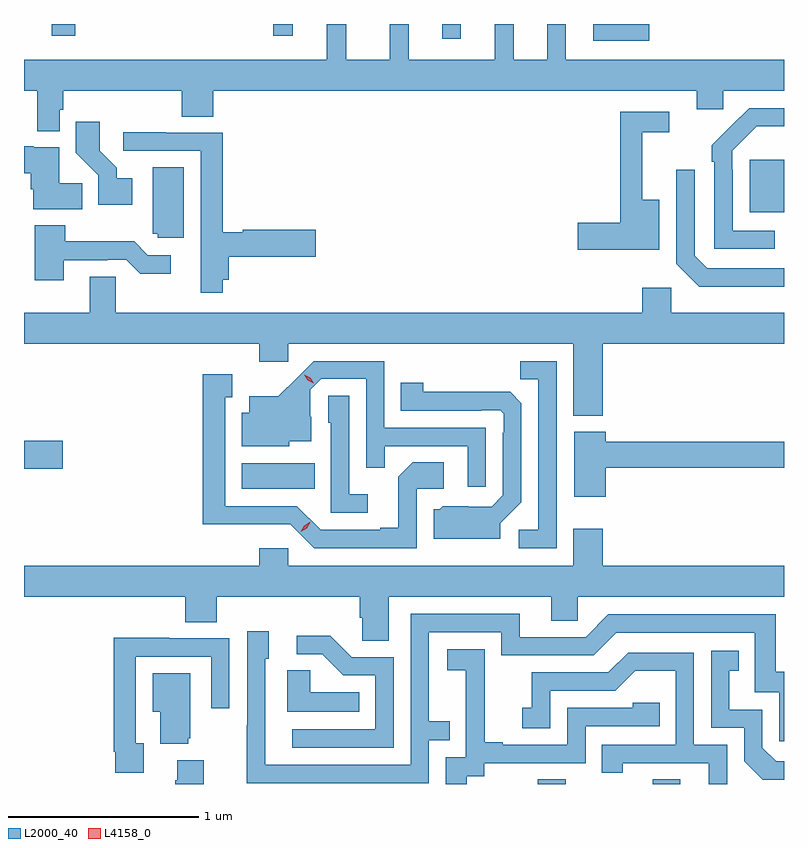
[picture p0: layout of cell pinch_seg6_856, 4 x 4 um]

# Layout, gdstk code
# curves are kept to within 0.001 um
import gdstk
lib = gdstk.Library(unit=1e-6, precision=1e-09)
def R(c, l, rs):  # rectangles x0, y0, x1, y1
    for r in rs: c.add(gdstk.rectangle(r[:2], r[2:], *l))
def P(c, l, *ps):  # polygons
    for p in ps: c.add(gdstk.Polygon(p, *l))
L2000_40 = (2000, 40)
L4158_0 = (4158, 0)

pinch_seg6_856 = lib.new_cell('pinch_seg6_856')
R(pinch_seg6_856, L2000_40, [(144.923,917.047,145.071,917.072), (145.528,917.047,145.675,917.072), (143.366,918.602,143.75,918.736), (142.22,918.707,142.423,918.854), (146.039,920.057,146.22,920.332), (145.217,920.96,145.51,921.047), (144.422,920.97,144.519,921.047), (142.367,920.985,142.489,921.047), (143.531,920.985,143.635,921.047)])
P(pinch_seg6_856, L2000_40, [(142.407,920.595),(142.427,920.595),(142.427,920.696),(143.051,920.696),(143.051,920.56),(143.216,920.56),(143.216,920.696),(145.76,920.696),(145.76,920.598),(145.899,920.598),(145.899,920.696),(146.22,920.696),(146.22,920.86),(145.072,920.86),(145.072,921.047),(144.974,921.047),(144.974,920.86),(144.797,920.86),(144.797,921.047),(144.698,921.047),(144.698,920.86),(144.245,920.86),(144.245,921.047),(144.145,921.047),(144.145,920.86),(143.917,920.86),(143.917,921.047),(143.813,921.047),(143.813,920.86),(142.22,920.86),(142.22,920.696),(142.291,920.696),(142.291,920.483),(142.407,920.483)],
  [(146.17,919.959),(145.95,919.959),(145.95,920.279),(145.947,920.279),(145.947,920.379),(146.076,920.508),(146.22,920.508),(146.22,920.604),(146.036,920.604),(145.839,920.409),(145.839,920.321),(145.854,920.321),(145.854,919.863),(146.17,919.863)],
  [(145.564,920.122),(145.475,920.122),(145.475,920.478),(145.615,920.478),(145.615,920.586),(145.357,920.586),(145.357,920),(145.134,920),(145.134,919.858),(145.564,919.858)],
  [(142.789,920.236),(142.708,920.236),(142.708,920.291),(142.618,920.381),(142.618,920.533),(142.492,920.533),(142.492,920.37),(142.611,920.251),(142.611,920.096),(142.789,920.096)],
  [(143.267,919.7),(143.297,919.7),(143.297,919.822),(143.755,919.822),(143.755,919.964),(143.37,919.964),(143.37,919.952),(143.267,919.952),(143.267,920.475),(142.967,920.475),(142.967,920.478),(142.743,920.478),(142.743,920.379),(143.151,920.379),(143.151,919.632),(143.267,919.632)],
  [(142.526,920.21),(142.405,920.21),(142.405,920.398),(142.272,920.398),(142.272,920.403),(142.22,920.403),(142.22,920.261),(142.256,920.261),(142.256,920.177),(142.268,920.177),(142.268,920.072),(142.526,920.072)],
  [(143.062,920.293),(142.898,920.293),(142.898,919.944),(142.923,919.944),(142.923,919.923),(143.062,919.923)],
  [(146.22,919.761),(145.815,919.761),(145.749,919.827),(145.749,920.281),(145.653,920.281),(145.653,919.785),(145.774,919.664),(146.22,919.664)],
  [(142.429,919.803),(142.658,919.803),(142.658,919.806),(142.758,919.806),(142.831,919.733),(142.993,919.733),(142.993,919.83),(142.872,919.83),(142.799,919.903),(142.437,919.903),(142.437,919.987),(142.277,919.987),(142.277,919.698),(142.429,919.698)],
  [(145.265,919.364),(146.22,919.364),(146.22,919.528),(145.626,919.528),(145.626,919.66),(145.475,919.66),(145.475,919.528),(142.704,919.528),(142.704,919.718),(142.565,919.718),(142.565,919.528),(142.22,919.528),(142.22,919.364),(143.459,919.364),(143.459,919.269),(143.61,919.269),(143.61,919.364),(145.112,919.364),(145.112,918.986),(145.265,918.986)],
  [(145.023,919.272),(144.832,919.272),(144.832,919.177),(144.927,919.177),(144.927,918.384),(144.825,918.384),(144.825,918.288),(145.023,918.288)],
  [(144.651,918.921),(144.117,918.921),(144.117,919.272),(143.744,919.272),(143.557,919.087),(143.405,919.087),(143.405,919),(143.366,919),(143.366,918.824),(143.616,918.824),(143.616,918.851),(143.731,918.851),(143.731,918.98),(143.727,918.98),(143.727,919.122),(143.784,919.179),(144.021,919.179),(144.021,918.712),(144.119,918.712),(144.119,918.825),(144.555,918.825),(144.555,918.612),(144.651,918.612)],
  [(144.288,918.6),(144.43,918.6),(144.43,918.74),(144.265,918.74),(144.189,918.664),(144.189,918.397),(144.095,918.397),(144.095,918.384),(143.781,918.384),(143.655,918.51),(143.278,918.51),(143.278,919.083),(143.317,919.083),(143.317,919.204),(143.16,919.204),(143.16,918.413),(143.622,918.414),(143.748,918.288),(144.288,918.288)],
  [(144.727,918.42),(144.837,918.53),(144.837,919.052),(144.778,919.111),(144.321,919.112),(144.321,919.159),(144.202,919.159),(144.202,919.011),(144.626,919.011),(144.626,919.014),(144.726,919.014),(144.744,918.996),(144.744,918.896),(144.741,918.896),(144.741,918.567),(144.681,918.507),(144.424,918.508),(144.408,918.492),(144.377,918.492),(144.377,918.338),(144.727,918.338)],
  [(144.028,918.571),(143.931,918.571),(143.931,919.091),(143.82,919.091),(143.82,918.948),(143.835,918.948),(143.835,918.474),(144.028,918.474)],
  [(145.282,918.712),(146.22,918.712),(146.22,918.848),(145.282,918.848),(145.282,918.901),(145.115,918.901),(145.115,918.558),(145.282,918.558)],
  [(144.139,918.032),(144.995,918.032),(144.995,917.905),(145.134,917.905),(145.134,918.032),(146.22,918.032),(146.22,918.196),(145.265,918.196),(145.265,918.391),(145.112,918.391),(145.112,918.196),(143.61,918.196),(143.61,918.289),(143.459,918.289),(143.459,918.196),(142.22,918.196),(142.22,918.032),(143.069,918.032),(143.069,917.899),(143.234,917.899),(143.234,918.032),(143.987,918.032),(143.987,917.923),(144,917.923),(144,917.8),(144.139,917.8)],
  [(143.855,917.052),(144.351,917.052),(144.351,917.277),(144.461,917.277),(144.461,917.378),(144.351,917.378),(144.351,917.847),(144.732,917.847),(144.732,917.724),(145.218,917.724),(145.338,917.844),(146.067,917.844),(146.067,917.529),(146.196,917.529),(146.196,917.271),(146.22,917.271),(146.22,917.638),(146.176,917.638),(146.176,917.94),(145.296,917.94),(145.176,917.82),(144.829,917.82),(144.829,917.943),(144.255,917.943),(144.255,917.148),(143.49,917.148),(143.49,917.706),(143.509,917.706),(143.509,917.851),(143.394,917.851),(143.394,917.357),(143.392,917.357),(143.392,917.051)],
  [(144.165,917.715),(143.946,917.715),(143.833,917.828),(143.655,917.828),(143.655,917.73),(143.789,917.73),(143.9,917.619),(144.069,917.619),(144.069,917.334),(143.631,917.334),(143.631,917.238),(144.165,917.238)],
  [(142.849,917.262),(142.809,917.262),(142.809,917.718),(143.205,917.718),(143.205,917.445),(143.301,917.445),(143.301,917.814),(142.985,917.814),(142.985,917.816),(142.693,917.816),(142.693,917.218),(142.701,917.218),(142.701,917.106),(142.849,917.106)],
  [(144.55,917.089),(144.642,917.089),(144.642,917.157),(145.176,917.157),(145.176,917.352),(145.565,917.352),(145.565,917.475),(145.425,917.475),(145.425,917.448),(145.08,917.448),(145.08,917.253),(144.739,917.253),(144.739,917.266),(144.644,917.266),(144.644,917.549),(144.645,917.549),(144.645,917.755),(144.447,917.755),(144.447,917.645),(144.545,917.645),(144.545,917.417),(144.546,917.417),(144.546,917.187),(144.441,917.187),(144.441,917.047),(144.55,917.047)],
  [(146.22,917.166),(146.178,917.166),(146.106,917.238),(146.106,917.439),(145.933,917.439),(145.933,917.643),(145.982,917.643),(145.982,917.749),(145.836,917.749),(145.836,917.343),(146.01,917.343),(146.01,917.166),(146.108,917.069),(146.22,917.069)],
  [(145.92,917.253),(145.746,917.253),(145.746,917.739),(145.4,917.739),(145.295,917.634),(144.892,917.634),(144.892,917.449),(144.843,917.449),(144.843,917.34),(144.99,917.34),(144.99,917.538),(145.332,917.538),(145.436,917.642),(145.65,917.642),(145.65,917.253),(145.261,917.253),(145.261,917.106),(145.372,917.106),(145.372,917.157),(145.823,917.157),(145.823,917.047),(145.92,917.047)],
  [(143.984,917.53),(143.727,917.53),(143.727,917.645),(143.606,917.645),(143.606,917.426),(143.984,917.426)],
  [(143.084,917.289),(143.095,917.289),(143.095,917.629),(142.898,917.629),(142.898,917.426),(142.937,917.426),(142.937,917.258),(143.084,917.258)],
  [(143.167,917.173),(143.027,917.173),(143.027,917.066),(143.015,917.066),(143.015,917.047),(143.167,917.047)])
P(pinch_seg6_856, L4158_0, [(143.744,919.156),(143.713,919.171),(143.696,919.2),(143.696,919.201),(143.696,919.201),(143.727,919.186),(143.744,919.156),(143.744,919.156)],
  [(143.676,918.374),(143.676,918.375),(143.694,918.407),(143.726,918.426),(143.726,918.426),(143.726,918.425),(143.708,918.393),(143.676,918.374)])

lib.write_gds('pinch_seg6_856.gds')
